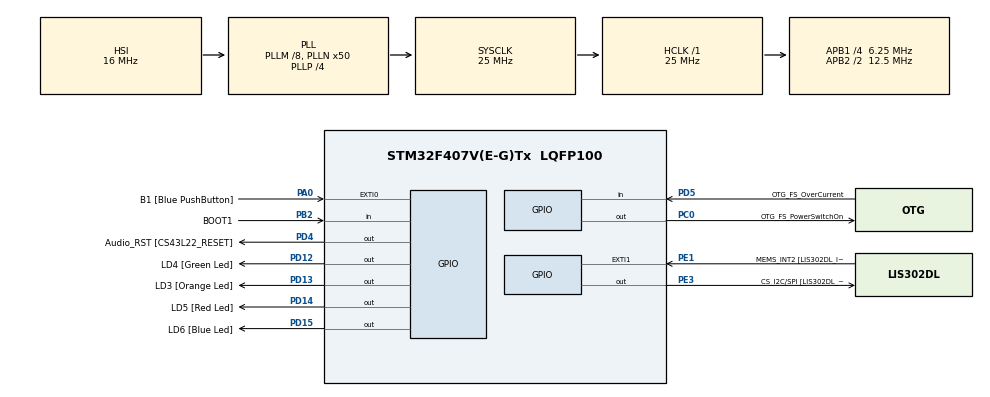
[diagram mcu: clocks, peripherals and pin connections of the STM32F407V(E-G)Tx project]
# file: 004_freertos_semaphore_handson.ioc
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Mcu.Family=STM32F4
Mcu.Name=STM32F407V(E-G)Tx
Mcu.Package=LQFP100
NVIC.PriorityGroup=NVIC_PRIORITYGROUP_4
NVIC.TIM6_DAC_IRQn=true\:0\:0\:false\:false\:true\:false\:true\:true
NVIC.TimeBase=TIM6_DAC_IRQn
NVIC.TimeBaseIP=TIM6
PA0-WKUP.GPIO_Label=B1 [Blue PushButton]
PA0-WKUP.Signal=GPXTI0
PA10.GPIO_Label=OTG_FS_ID
PA10.GPIO_Mode=GPIO_MODE_AF_PP
PA10.GPIO_PuPd=GPIO_NOPULL
PA10.GPIO_Speed=GPIO_SPEED_FREQ_LOW
PA10.Signal=USB_OTG_FS_ID
PA11.GPIO_Label=OTG_FS_DM
PA11.GPIO_Mode=GPIO_MODE_AF_PP
PA11.GPIO_PuPd=GPIO_NOPULL
PA11.GPIO_Speed=GPIO_SPEED_FREQ_LOW
PA11.Signal=USB_OTG_FS_DM
PA12.GPIO_Label=OTG_FS_DP
PA12.GPIO_Mode=GPIO_MODE_AF_PP
PA12.GPIO_PuPd=GPIO_NOPULL
PA12.GPIO_Speed=GPIO_SPEED_FREQ_LOW
PA12.Signal=USB_OTG_FS_DP
PA13.GPIO_Label=SWDIO
PA13.Signal=SYS_JTMS-SWDIO
PA14.GPIO_Label=SWCLK
PA14.Signal=SYS_JTCK-SWCLK
PA4.GPIO_Label=I2S3_WS [CS43L22_LRCK]
PA4.GPIO_Mode=GPIO_MODE_AF_PP
PA4.GPIO_PuPd=GPIO_NOPULL
PA4.GPIO_Speed=GPIO_SPEED_FREQ_LOW
PA4.Signal=I2S3_WS
PA5.GPIO_Label=SPI1_SCK [LIS302DL_SCL/SPC]
PA5.GPIO_Mode=GPIO_MODE_AF_PP
PA5.GPIO_PuPd=GPIO_NOPULL
PA5.GPIO_Speed=GPIO_SPEED_FREQ_LOW
PA5.Signal=SPI1_SCK
PA6.GPIO_Label=SPI1_MISO [LIS302DL_SDO]
PA6.GPIO_Mode=GPIO_MODE_AF_PP
PA6.GPIO_PuPd=GPIO_NOPULL
PA6.GPIO_Speed=GPIO_SPEED_FREQ_LOW
PA6.Signal=SPI1_MISO
PA7.GPIO_Label=SPI1_MOSI [LIS302DL_SDA/SDI/SDO]
PA7.GPIO_Mode=GPIO_MODE_AF_PP
PA7.GPIO_PuPd=GPIO_NOPULL
PA7.GPIO_Speed=GPIO_SPEED_FREQ_LOW
PA7.Signal=SPI1_MOSI
PA9.GPIO_Label=VBUS_FS
PA9.GPIO_Mode=GPIO_MODE_INPUT
PA9.GPIO_PuPd=GPIO_NOPULL
PA9.Signal=USB_OTG_FS_VBUS
PB10.GPIO_Label=CLK_IN [MP45DT02_CLK]
PB10.GPIO_Mode=GPIO_MODE_AF_PP
PB10.GPIO_PuPd=GPIO_NOPULL
PB10.GPIO_Speed=GPIO_SPEED_FREQ_LOW
PB10.Signal=I2S2_CK
PB2.GPIO_Label=BOOT1
PB2.GPIO_Mode=GPIO_MODE_INPUT
PB2.GPIO_PuPd=GPIO_NOPULL
PB2.Signal=GPIO_Input
PB3.GPIO_Label=SWO
PB3.Signal=SYS_JTDO-SWO
PB6.GPIO_Label=Audio_SCL [CS43L22_SCL]
PB6.GPIO_Mode=GPIO_MODE_AF_OD
PB6.GPIO_PuPd=GPIO_NOPULL
PB6.GPIO_Speed=GPIO_SPEED_FREQ_LOW
PB6.Signal=I2C1_SCL
PB9.GPIO_Label=Audio_SDA [CS43L22_SDA]
PB9.GPIO_Mode=GPIO_MODE_AF_OD
PB9.GPIO_PuPd=GPIO_NOPULL
PB9.GPIO_Speed=GPIO_SPEED_FREQ_LOW
PB9.Signal=I2C1_SDA
PC0.GPIO_Label=OTG_FS_PowerSwitchOn
PC0.GPIO_PuPd=GPIO_NOPULL
PC0.GPIO_Speed=GPIO_SPEED_FREQ_LOW
PC0.PinState=GPIO_PIN_SET
PC0.Signal=GPIO_Output
PC10.GPIO_Label=I2S3_SCK [CS43L22_SCLK]
PC10.GPIO_Mode=GPIO_MODE_AF_PP
PC10.GPIO_PuPd=GPIO_NOPULL
PC10.GPIO_Speed=GPIO_SPEED_FREQ_LOW
PC10.Signal=I2S3_CK
PC12.GPIO_Label=I2S3_SD [CS43L22_SDIN]
PC12.GPIO_Mode=GPIO_MODE_AF_PP
PC12.GPIO_PuPd=GPIO_NOPULL
PC12.GPIO_Speed=GPIO_SPEED_FREQ_LOW
PC12.Signal=I2S3_SD
PC14-OSC32_IN.GPIO_Label=PC14-OSC32_IN
PC14-OSC32_IN.Signal=RCC_OSC32_IN
PC15-OSC32_OUT.GPIO_Label=PC15-OSC32_OUT
PC15-OSC32_OUT.Signal=RCC_OSC32_OUT
PC3.GPIO_Label=PDM_OUT [MP45DT02_DOUT]
PC3.GPIO_Mode=GPIO_MODE_AF_PP
PC3.GPIO_PuPd=GPIO_NOPULL
PC3.GPIO_Speed=GPIO_SPEED_FREQ_LOW
PC3.Signal=I2S2_SD
PC7.GPIO_Label=I2S3_MCK [CS43L22_MCLK]
PC7.GPIO_Mode=GPIO_MODE_AF_PP
PC7.GPIO_PuPd=GPIO_NOPULL
PC7.GPIO_Speed=GPIO_SPEED_FREQ_LOW
PC7.Signal=I2S3_MCK
PD12.GPIO_Label=LD4 [Green Led]
PD12.GPIO_PuPd=GPIO_NOPULL
PD12.GPIO_Speed=GPIO_SPEED_FREQ_LOW
PD12.Signal=GPIO_Output
PD13.GPIO_Label=LD3 [Orange Led]
PD13.GPIO_PuPd=GPIO_NOPULL
PD13.GPIO_Speed=GPIO_SPEED_FREQ_LOW
PD13.Signal=GPIO_Output
PD14.GPIO_Label=LD5 [Red Led]
PD14.GPIO_PuPd=GPIO_NOPULL
PD14.GPIO_Speed=GPIO_SPEED_FREQ_LOW
PD14.Signal=GPIO_Output
PD15.GPIO_Label=LD6 [Blue Led]
PD15.GPIO_PuPd=GPIO_NOPULL
PD15.GPIO_Speed=GPIO_SPEED_FREQ_LOW
PD15.Signal=GPIO_Output
PD4.GPIO_Label=Audio_RST [CS43L22_RESET]
PD4.GPIO_PuPd=GPIO_NOPULL
PD4.GPIO_Speed=GPIO_SPEED_FREQ_LOW
PD4.Signal=GPIO_Output
PD5.GPIO_Label=OTG_FS_OverCurrent
PD5.GPIO_Mode=GPIO_MODE_INPUT
PD5.GPIO_PuPd=GPIO_NOPULL
PD5.Signal=GPIO_Input
PE1.GPIO_Label=MEMS_INT2 [LIS302DL_INT2]
PE1.GPIO_ModeDefaultEXTI=GPIO_MODE_EVT_RISING
PE1.GPIO_PuPd=GPIO_NOPULL
PE1.Signal=GPXTI1
PE3.GPIO_Label=CS_I2C/SPI [LIS302DL_CS_I2C/SPI]
PE3.GPIO_PuPd=GPIO_NOPULL
PE3.GPIO_Speed=GPIO_SPEED_FREQ_LOW
PE3.Signal=GPIO_Output
PH0-OSC_IN.GPIO_Label=PH0-OSC_IN
PH0-OSC_IN.Signal=RCC_OSC_IN
PH1-OSC_OUT.GPIO_Label=PH1-OSC_OUT
PH1-OSC_OUT.Signal=RCC_OSC_OUT
ProjectManager.HeapSize=0x200
ProjectManager.StackSize=0x400
ProjectManager.TargetToolchain=STM32CubeIDE
RCC.48MHZClocksFreq_Value=14285714.285714285
RCC.AHBFreq_Value=25000000
RCC.APB1CLKDivider=RCC_HCLK_DIV4
RCC.APB1Freq_Value=6250000
RCC.APB1TimFreq_Value=12500000
RCC.APB2CLKDivider=RCC_HCLK_DIV2
RCC.APB2Freq_Value=12500000
RCC.APB2TimFreq_Value=25000000
RCC.CortexFreq_Value=25000000
RCC.HCLKFreq_Value=25000000
RCC.HSE_VALUE=8000000
RCC.HSI_VALUE=16000000
RCC.LSE_VALUE=32768
RCC.PLLM=8
RCC.PLLN=50
RCC.PLLP=RCC_PLLP_DIV4
RCC.PLLQ=7
RCC.SYSCLKFreq_VALUE=25000000
RCC.SYSCLKSource=RCC_SYSCLKSOURCE_PLLCLK
RCC.VCOOutputFreq_Value=100000000
VP_SYS_VS_tim6.Mode=TIM6
board=STM32F407G-DISC1

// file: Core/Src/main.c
/* USER CODE BEGIN Header */
/**
  ******************************************************************************
  * @file           : main.c
  * @brief          : Main program body
  ******************************************************************************
  * @attention
  *
  * Copyright (c) 2026 STMicroelectronics.
  * All rights reserved.
  *
  * This software is licensed under terms that can be found in the LICENSE file
  * in the root directory of this software component.
  * If no LICENSE file comes with this software, it is provided AS-IS.
  *
  ******************************************************************************
  */
/* USER CODE END Header */
#include "main.h"

/* USER CODE BEGIN Includes */
#include "FreeRTOS.h"
#include "task.h"
#include "semphr.h"
#include "SEGGER_SYSVIEW.h"
/* USER CODE END Includes */

/* USER CODE BEGIN PV */
SemaphoreHandle_t SemPtr;
/* USER CODE END PV */

void SystemClock_Config(void);
static void MX_GPIO_Init(void);
/* USER CODE BEGIN PFP */
#define LEDTASK

#ifdef LEDTASK
void greenTask(void *param);
void redTask(void * param);
#else
void task1(void *param);
void task2(void *param);
#endif
/* USER CODE END PFP */

/* USER CODE BEGIN 0 */
// 1. We need TWO semaphores for a ping-pong effect
SemaphoreHandle_t SemTask1_Go;
SemaphoreHandle_t SemTask2_Go;

// 2. A custom function to simulate heavy CPU load (Keeps Task in "Running" state)
void SimulateCpuWork(TickType_t ticksToWork) {
    TickType_t startTick = xTaskGetTickCount();

    // The CPU is trapped in this loop, running at 100% capacity
    // until the requested number of ticks has passed.
    while((xTaskGetTickCount() - startTick) < ticksToWork) {
        __NOP(); // Do nothing, just spin the CPU wheels
    }
}
/* USER CODE END 0 */

int main(void)
{

  /* USER CODE BEGIN 1 */
  BaseType_t status;
#ifdef LEDTASK
  TaskHandle_t greenTaskHandle;
  TaskHandle_t redTaskHandle;
#endif
  /* USER CODE END 1 */

  /* MCU Configuration--------------------------------------------------------*/

  /* Reset of all peripherals, Initializes the Flash interface and the Systick. */
  HAL_Init();

  /* Configure the system clock */
  SystemClock_Config();

  /* Initialize all configured peripherals */
  MX_GPIO_Init();
  /* USER CODE BEGIN 2 */

  CoreDebug->DEMCR |= CoreDebug_DEMCR_TRCENA_Msk;
  DWT->CYCCNT = 0;
  DWT->CTRL |= DWT_CTRL_CYCCNTENA_Msk;
  NVIC_SetPriorityGrouping(NVIC_PRIORITYGROUP_4);
  SEGGER_SYSVIEW_Conf();
  #ifdef LEDTASK
  status = xTaskCreate(greenTask, "Green Task", 512, "Green Task", 2, &greenTaskHandle);
  configASSERT(status == pdPASS);
  status = xTaskCreate(redTask, "Red Task", 512, "Red Task", 2, &redTaskHandle);
  configASSERT(status == pdPASS);
  #else

  	SemTask1_Go = xSemaphoreCreateBinary();
    SemTask2_Go = xSemaphoreCreateBinary();
    configASSERT(SemTask1_Go != NULL);
    configASSERT(SemTask2_Go != NULL);

    // KICK-START THE LOOP! Give Task 1 permission to run first.
    xSemaphoreGive(SemTask1_Go);

    // Create Tasks (Same priority is fine since they block each other)

    status = xTaskCreate(task1, "Task 1", 512, NULL, 2, NULL);
    configASSERT(status == pdPASS);
    status = xTaskCreate(task2, "Task 2", 512, NULL, 2, NULL);
    configASSERT(status == pdPASS);
  #endif
  vTaskStartScheduler();

  /* USER CODE END 2 */

  /* Infinite loop */
  while (1)
  {

  }
}

void SystemClock_Config(void)
{
  RCC_OscInitTypeDef RCC_OscInitStruct = {0};
  RCC_ClkInitTypeDef RCC_ClkInitStruct = {0};

  /** Configure the main internal regulator output voltage
  */
  __HAL_RCC_PWR_CLK_ENABLE();
  __HAL_PWR_VOLTAGESCALING_CONFIG(PWR_REGULATOR_VOLTAGE_SCALE1);

  /** Initializes the RCC Oscillators according to the specified parameters
  * in the RCC_OscInitTypeDef structure.
  */
  RCC_OscInitStruct.OscillatorType = RCC_OSCILLATORTYPE_HSI;
  RCC_OscInitStruct.HSIState = RCC_HSI_ON;
  RCC_OscInitStruct.HSICalibrationValue = RCC_HSICALIBRATION_DEFAULT;
  RCC_OscInitStruct.PLL.PLLState = RCC_PLL_ON;
  RCC_OscInitStruct.PLL.PLLSource = RCC_PLLSOURCE_HSI;
  RCC_OscInitStruct.PLL.PLLM = 8;
  RCC_OscInitStruct.PLL.PLLN = 50;
  RCC_OscInitStruct.PLL.PLLP = RCC_PLLP_DIV4;
  RCC_OscInitStruct.PLL.PLLQ = 7;
  if (HAL_RCC_OscConfig(&RCC_OscInitStruct) != HAL_OK)
  {
    Error_Handler();
  }

  /** Initializes the CPU, AHB and APB buses clocks
  */
  RCC_ClkInitStruct.ClockType = RCC_CLOCKTYPE_HCLK|RCC_CLOCKTYPE_SYSCLK
                              |RCC_CLOCKTYPE_PCLK1|RCC_CLOCKTYPE_PCLK2;
  RCC_ClkInitStruct.SYSCLKSource = RCC_SYSCLKSOURCE_PLLCLK;
  RCC_ClkInitStruct.AHBCLKDivider = RCC_SYSCLK_DIV1;
  RCC_ClkInitStruct.APB1CLKDivider = RCC_HCLK_DIV4;
  RCC_ClkInitStruct.APB2CLKDivider = RCC_HCLK_DIV2;

  if (HAL_RCC_ClockConfig(&RCC_ClkInitStruct, FLASH_LATENCY_0) != HAL_OK)
  {
    Error_Handler();
  }
}

static void MX_GPIO_Init(void)
{
  GPIO_InitTypeDef GPIO_InitStruct = {0};

  /* GPIO Ports Clock Enable */
  __HAL_RCC_GPIOE_CLK_ENABLE();
  __HAL_RCC_GPIOC_CLK_ENABLE();
  __HAL_RCC_GPIOH_CLK_ENABLE();
  __HAL_RCC_GPIOA_CLK_ENABLE();
  __HAL_RCC_GPIOB_CLK_ENABLE();
  __HAL_RCC_GPIOD_CLK_ENABLE();

  /*Configure GPIO pin Output Level */
  HAL_GPIO_WritePin(CS_I2C_SPI_GPIO_Port, CS_I2C_SPI_Pin, GPIO_PIN_RESET);

  /*Configure GPIO pin Output Level */
  HAL_GPIO_WritePin(OTG_FS_PowerSwitchOn_GPIO_Port, OTG_FS_PowerSwitchOn_Pin, GPIO_PIN_SET);

  /*Configure GPIO pin Output Level */
  HAL_GPIO_WritePin(GPIOD, LD4_Pin|LD3_Pin|LD5_Pin|LD6_Pin
                          |Audio_RST_Pin, GPIO_PIN_RESET);

  /*Configure GPIO pin : CS_I2C_SPI_Pin */
  GPIO_InitStruct.Pin = CS_I2C_SPI_Pin;
  GPIO_InitStruct.Mode = GPIO_MODE_OUTPUT_PP;
  GPIO_InitStruct.Pull = GPIO_NOPULL;
  GPIO_InitStruct.Speed = GPIO_SPEED_FREQ_LOW;
  HAL_GPIO_Init(CS_I2C_SPI_GPIO_Port, &GPIO_InitStruct);

  /*Configure GPIO pin : OTG_FS_PowerSwitchOn_Pin */
  GPIO_InitStruct.Pin = OTG_FS_PowerSwitchOn_Pin;
  GPIO_InitStruct.Mode = GPIO_MODE_OUTPUT_PP;
  GPIO_InitStruct.Pull = GPIO_NOPULL;
  GPIO_InitStruct.Speed = GPIO_SPEED_FREQ_LOW;
  HAL_GPIO_Init(OTG_FS_PowerSwitchOn_GPIO_Port, &GPIO_InitStruct);

  /*Configure GPIO pin : PDM_OUT_Pin */
  GPIO_InitStruct.Pin = PDM_OUT_Pin;
  GPIO_InitStruct.Mode = GPIO_MODE_AF_PP;
  GPIO_InitStruct.Pull = GPIO_NOPULL;
  GPIO_InitStruct.Speed = GPIO_SPEED_FREQ_LOW;
  GPIO_InitStruct.Alternate = GPIO_AF5_SPI2;
  HAL_GPIO_Init(PDM_OUT_GPIO_Port, &GPIO_InitStruct);

  /*Configure GPIO pin : B1_Pin */
  GPIO_InitStruct.Pin = B1_Pin;
  GPIO_InitStruct.Mode = GPIO_MODE_IT_RISING;
  GPIO_InitStruct.Pull = GPIO_NOPULL;
  HAL_GPIO_Init(B1_GPIO_Port, &GPIO_InitStruct);

  /*Configure GPIO pin : I2S3_WS_Pin */
  GPIO_InitStruct.Pin = I2S3_WS_Pin;
  GPIO_InitStruct.Mode = GPIO_MODE_AF_PP;
  GPIO_InitStruct.Pull = GPIO_NOPULL;
  GPIO_InitStruct.Speed = GPIO_SPEED_FREQ_LOW;
  GPIO_InitStruct.Alternate = GPIO_AF6_SPI3;
  HAL_GPIO_Init(I2S3_WS_GPIO_Port, &GPIO_InitStruct);

  /*Configure GPIO pins : SPI1_SCK_Pin SPI1_MISO_Pin SPI1_MOSI_Pin */
  GPIO_InitStruct.Pin = SPI1_SCK_Pin|SPI1_MISO_Pin|SPI1_MOSI_Pin;
  GPIO_InitStruct.Mode = GPIO_MODE_AF_PP;
  GPIO_InitStruct.Pull = GPIO_NOPULL;
  GPIO_InitStruct.Speed = GPIO_SPEED_FREQ_LOW;
  GPIO_InitStruct.Alternate = GPIO_AF5_SPI1;
  HAL_GPIO_Init(GPIOA, &GPIO_InitStruct);

  /*Configure GPIO pin : BOOT1_Pin */
  GPIO_InitStruct.Pin = BOOT1_Pin;
  GPIO_InitStruct.Mode = GPIO_MODE_INPUT;
  GPIO_InitStruct.Pull = GPIO_NOPULL;
  HAL_GPIO_Init(BOOT1_GPIO_Port, &GPIO_InitStruct);

  /*Configure GPIO pin : CLK_IN_Pin */
  GPIO_InitStruct.Pin = CLK_IN_Pin;
  GPIO_InitStruct.Mode = GPIO_MODE_AF_PP;
  GPIO_InitStruct.Pull = GPIO_NOPULL;
  GPIO_InitStruct.Speed = GPIO_SPEED_FREQ_LOW;
  GPIO_InitStruct.Alternate = GPIO_AF5_SPI2;
  HAL_GPIO_Init(CLK_IN_GPIO_Port, &GPIO_InitStruct);

  /*Configure GPIO pins : LD4_Pin LD3_Pin LD5_Pin LD6_Pin
                           Audio_RST_Pin */
  GPIO_InitStruct.Pin = LD4_Pin|LD3_Pin|LD5_Pin|LD6_Pin
                          |Audio_RST_Pin;
  GPIO_InitStruct.Mode = GPIO_MODE_OUTPUT_PP;
  GPIO_InitStruct.Pull = GPIO_NOPULL;
  GPIO_InitStruct.Speed = GPIO_SPEED_FREQ_LOW;
  HAL_GPIO_Init(GPIOD, &GPIO_InitStruct);

  /*Configure GPIO pins : I2S3_MCK_Pin I2S3_SCK_Pin I2S3_SD_Pin */
  GPIO_InitStruct.Pin = I2S3_MCK_Pin|I2S3_SCK_Pin|I2S3_SD_Pin;
  GPIO_InitStruct.Mode = GPIO_MODE_AF_PP;
  GPIO_InitStruct.Pull = GPIO_NOPULL;
  GPIO_InitStruct.Speed = GPIO_SPEED_FREQ_LOW;
  GPIO_InitStruct.Alternate = GPIO_AF6_SPI3;
  HAL_GPIO_Init(GPIOC, &GPIO_InitStruct);

  /*Configure GPIO pin : VBUS_FS_Pin */
  GPIO_InitStruct.Pin = VBUS_FS_Pin;
  GPIO_InitStruct.Mode = GPIO_MODE_INPUT;
  GPIO_InitStruct.Pull = GPIO_NOPULL;
  HAL_GPIO_Init(VBUS_FS_GPIO_Port, &GPIO_InitStruct);

  /*Configure GPIO pins : OTG_FS_ID_Pin OTG_FS_DM_Pin OTG_FS_DP_Pin */
  GPIO_InitStruct.Pin = OTG_FS_ID_Pin|OTG_FS_DM_Pin|OTG_FS_DP_Pin;
  GPIO_InitStruct.Mode = GPIO_MODE_AF_PP;
  GPIO_InitStruct.Pull = GPIO_NOPULL;
  GPIO_InitStruct.Speed = GPIO_SPEED_FREQ_LOW;
  GPIO_InitStruct.Alternate = GPIO_AF10_OTG_FS;
  HAL_GPIO_Init(GPIOA, &GPIO_InitStruct);

  /*Configure GPIO pin : OTG_FS_OverCurrent_Pin */
  GPIO_InitStruct.Pin = OTG_FS_OverCurrent_Pin;
  GPIO_InitStruct.Mode = GPIO_MODE_INPUT;
  GPIO_InitStruct.Pull = GPIO_NOPULL;
  HAL_GPIO_Init(OTG_FS_OverCurrent_GPIO_Port, &GPIO_InitStruct);

  /*Configure GPIO pins : Audio_SCL_Pin Audio_SDA_Pin */
  GPIO_InitStruct.Pin = Audio_SCL_Pin|Audio_SDA_Pin;
  GPIO_InitStruct.Mode = GPIO_MODE_AF_OD;
  GPIO_InitStruct.Pull = GPIO_NOPULL;
  GPIO_InitStruct.Speed = GPIO_SPEED_FREQ_LOW;
  GPIO_InitStruct.Alternate = GPIO_AF4_I2C1;
  HAL_GPIO_Init(GPIOB, &GPIO_InitStruct);

  /*Configure GPIO pin : MEMS_INT2_Pin */
  GPIO_InitStruct.Pin = MEMS_INT2_Pin;
  GPIO_InitStruct.Mode = GPIO_MODE_EVT_RISING;
  GPIO_InitStruct.Pull = GPIO_NOPULL;
  HAL_GPIO_Init(MEMS_INT2_GPIO_Port, &GPIO_InitStruct);

}

/* USER CODE BEGIN 4 */
#ifdef LEDTASK
void greenTask(void *param){
	uint_fast8_t count = 0;
	 SEGGER_SYSVIEW_Start();

	    // 4. Create RTOS Objects (SystemView is now recording, so it sees this)
	    SemPtr = xSemaphoreCreateBinary();
	    configASSERT(SemPtr != NULL);
	while(1){
		if(++count >= 3)
		{
			count = 0;
			SEGGER_SYSVIEW_PrintfHost("Task A (green LED) gives semPtr");
			xSemaphoreGive(SemPtr);
		}
		SEGGER_SYSVIEW_PrintfHost("Turning G LED ON");
		HAL_GPIO_TogglePin(GPIOD, GPIO_PIN_12);
		vTaskDelay(10);
		SEGGER_SYSVIEW_PrintfHost("Turning G LED OFF");
		HAL_GPIO_TogglePin(GPIOD, GPIO_PIN_12);
		vTaskDelay(10);
	}
}

void redTask(void * param){
	while(1){
		if(xSemaphoreTake(SemPtr, portMAX_DELAY) == pdPASS){
			//triple blink the Blue LED
			for(uint_fast8_t i = 0; i < 3; i++)
			{
				SEGGER_SYSVIEW_PrintfHost("Turning R LED ON");
				HAL_GPIO_TogglePin(GPIOD, GPIO_PIN_14);
				vTaskDelay(10);
				SEGGER_SYSVIEW_PrintfHost("Turning R LED ON");
				HAL_GPIO_TogglePin(GPIOD, GPIO_PIN_14);
				vTaskDelay(10);
			}
		}
		else {
			// Wait for semaphore
		}
	}
}

#else

void task1(void *param) {
	SEGGER_SYSVIEW_Start();
    while(1) {
        // 1. Wait until it is Task 1's turn
        if(xSemaphoreTake(SemTask1_Go, portMAX_DELAY) == pdPASS) {

            SEGGER_SYSVIEW_PrintfHost("Task 1 Start (Running 20 Ticks)");

            // 2. Force the CPU to stay in the RUNNING state for 20 ticks
            SimulateCpuWork(20);

            SEGGER_SYSVIEW_PrintfHost("Task 1 Done. Waking Task 2.");

            // 3. Hand the baton to Task 2
            xSemaphoreGive(SemTask2_Go);
        }
    }
}

void task2(void *param) {
    while(1) {
        // 1. Wait until Task 1 gives the signal
        if(xSemaphoreTake(SemTask2_Go, portMAX_DELAY) == pdPASS) {

            SEGGER_SYSVIEW_PrintfHost("Task 2 Start (Running 10 Ticks)");

            // 2. Force the CPU to stay in the RUNNING state for 10 ticks
            SimulateCpuWork(10);

            SEGGER_SYSVIEW_PrintfHost("Task 2 Done. Sleeping for a bit.");

            // 3. Sleep for 50 ticks so we don't flood the SystemView timeline!
            // (This lets you see the "Idle" gaps between ping-pongs)
            vTaskDelay(pdMS_TO_TICKS(50));

            // 4. Hand the baton back to Task 1 to restart the cycle
            xSemaphoreGive(SemTask1_Go);
        }
    }
}
#endif
/* USER CODE END 4 */

void HAL_TIM_PeriodElapsedCallback(TIM_HandleTypeDef *htim)
{
  if (htim->Instance == TIM6)
  {
    HAL_IncTick();
  }
}

void Error_Handler(void)
{
  __disable_irq();
  while (1)
  {
  }
}
